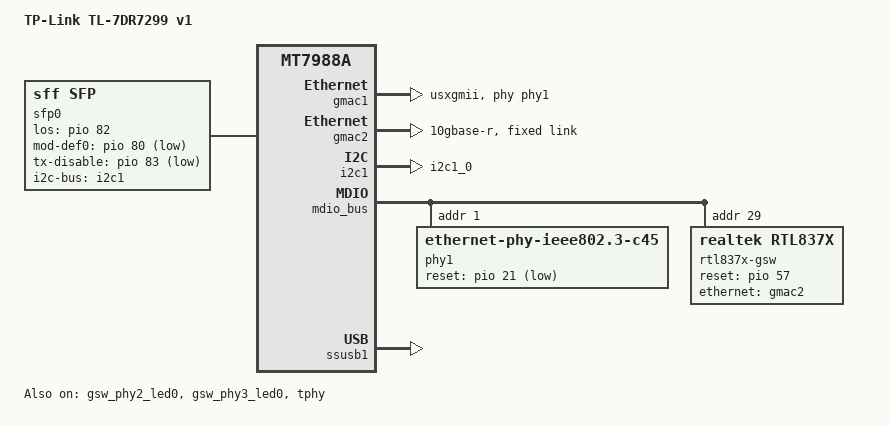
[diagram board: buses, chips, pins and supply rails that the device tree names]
// SPDX-License-Identifier: GPL-2.0-or-later OR MIT
/*
 * Copyright (C) 2026 Tianling Shen <cnsztl@immortalwrt.org>
 */

/dts-v1/;
#include "mt7988d-tplink-tl-7dr-common.dtsi"

/ {
	model = "TP-Link TL-7DR7299 v1";
	compatible = "tplink,tl-7dr7299-v1", "mediatek,mt7988a";

	cpus {
		cpu3: cpu@3 {
			compatible = "arm,cortex-a73";
			reg = <0x3>;
			device_type = "cpu";
			enable-method = "psci";
			clocks = <&mcusys CLK_MCU_ARM_DIV_SEL>, <&topckgen CLK_TOP_XTAL>;
			clock-names = "cpu", "intermediate";
			operating-points-v2 = <&cluster0_opp>;
			mediatek,cci = <&cci>;
		};
	};

	gpio-leds {
		led-2 {
			color = <LED_COLOR_ID_GREEN>;
			function = "sfp";
			gpios = <&pio 81 GPIO_ACTIVE_LOW>;
		};
	};

	sfp0: sfp0 {
		compatible = "sff,sfp";
		i2c-bus = <&i2c1>;
		los-gpios = <&pio 82 GPIO_ACTIVE_HIGH>;
		mod-def0-gpios = <&pio 80 GPIO_ACTIVE_LOW>;
		tx-disable-gpios = <&pio 83 GPIO_ACTIVE_LOW>;
		maximum-power-milliwatt = <3000>;
	};
};

&cpu3 {
	proc-supply = <&rt5190_buck3>;
};

&gmac1 {
	nvmem-cells = <&macaddr_factory_1e001c 1>;
	nvmem-cell-names = "mac-address";
	phy-handle = <&phy1>;
	phy-mode = "usxgmii";

	/delete-property/ phy-connection-type;
	/delete-property/ phy;

	status = "okay";
};

&gmac2 {
	nvmem-cells = <&macaddr_factory_1e001c 0>;
	nvmem-cell-names = "mac-address";
	phy-mode = "10gbase-r";
	status = "okay";

	fixed-link {
		speed = <10000>;
		full-duplex;
		pause;
	};
};

&gsw_phy2 {
	pinctrl-names = "gbe-led";
	pinctrl-0 = <&gbe2_led0_pins>;
};

&gsw_phy2_led0 {
	function = LED_FUNCTION_LAN;
	color = <LED_COLOR_ID_GREEN>;
	status = "okay";
};

&gsw_phy3 {
	pinctrl-names = "gbe-led";
	pinctrl-0 = <&gbe3_led0_pins>;
};

&gsw_phy3_led0 {
	function = LED_FUNCTION_LAN;
	color = <LED_COLOR_ID_GREEN>;
	status = "okay";
};

&gsw_port0 {
	status = "disabled";
};

&gsw_port1 {
	status = "disabled";
};

&gsw_port2 {
	label = "lan1";
};

&gsw_port3 {
	label = "lan2";
};

&i2c1 {
	pinctrl-names = "default";
	pinctrl-0 = <&i2c1_pins>;
	status = "okay";
};

&mdio_bus {
	phy1: ethernet-phy@1 {
		compatible = "ethernet-phy-ieee802.3-c45";
		reg = <1>;
		reset-assert-us = <100000>;
		reset-deassert-us = <221000>;
		reset-gpios = <&pio 21 GPIO_ACTIVE_LOW>;

		leds {
			#address-cells = <1>;
			#size-cells = <0>;

			led@3 {
				reg = <3>;
				function = LED_FUNCTION_WAN;
				color = <LED_COLOR_ID_GREEN>;
				active-low;
			};
		};
	};

	rtl837x-gsw@1d {
		compatible = "realtek,rtl837x";
		reg = <29>;
		ethernet = <&gmac2>;
		reset-gpios = <&pio 57 GPIO_ACTIVE_HIGH>;
		rtl837x,cpu-port = <0>;
		rtl837x,sds0mode = "10g-kr";
		sfp = <&sfp0>;

		extra-init =
			/* LED_RLDP_CTRL_3~8_P2_LED3_0_RLDP */
			<0x65FC 0xffffffff 0x33333000>, // RTL8373_LED_RLDP_CTRL_2_ADDR
			<0x6600 0xf        0x3       >, // RTL8373_LED_RLDP_CTRL_3_ADDR
			/* 10m/100m/500m/1g/2p5g/link/act */
			<0x6548 0xffff     0x17D     >, // RTL8373_LED1_0_SET0_CTRL0_ADDR
			/* LED_GLB_MUX_1_CFG_PAD_LED3_MUX */
			<0x65E0 0xfc0000   0x10      >, // RTL8373_LED_GLB_MUX_1_ADDR
			/* LED_GLB_MUX_2_CFG_PAD_LED6_MUX */
			<0x65E4 0xfc0      0x14      >, // RTL8373_LED_GLB_MUX_2_ADDR
			/* LED_GLB_MUX_3_CFG_PAD_LED10_MUX */
			<0x65E8 0x3f       0x18      >, // RTL8373_LED_GLB_MUX_3_ADDR
			/* LED_GLB_MUX_4_CFG_PAD_LED18_MUX */
			<0x65EC 0xfc0000   0x1C      >, // RTL8373_LED_GLB_MUX_4_ADDR
			/* LED_GLB_ACTIVE_CFG_PAD_LED3_ACTIVE_LOW */
			<0x65D8 0x8        0         >, // RTL8373_LED_GLB_ACTIVE_ADDR
			/* LED_GLB_ACTIVE_CFG_PAD_LED6_ACTIVE_LOW */
			<0x65D8 0x6        0         >, // RTL8373_LED_GLB_ACTIVE_ADDR
			/* LED_GLB_ACTIVE_CFG_PAD_LED10_ACTIVE_LOW */
			<0x65D8 0xA        0         >, // RTL8373_LED_GLB_ACTIVE_ADDR
			/* LED_GLB_ACTIVE_CFG_PAD_LED18_ACTIVE_LOW */
			<0x65D8 0x12       0         >, // RTL8373_LED_GLB_ACTIVE_ADDR
			/* LED_GLB_IO_EN_CFG_PARA_LED3/6/10/18/28/29_IO_EN */
			<0x65DC 0x3fffffff 0x30040448>, // RTL8373_LED_GLB_IO_EN_ADDR
			/* IO_MUX_SEL_0_GPIO_LED3/6/10/18 */
			<0x7F8C 0x3fffffff 0x3FFBFBB7>, // RTL8373_IO_MUX_SEL_0_ADDR
			/* LED_GLB_CTRL_STP1_PWR_ON_LED */
			<0x6520 0x1E0      1         >, // RTL8373_LED_GLB_CTRL_ADDR
			/* LED_GLB_CTRL_STP2_PWR_ON_LED */
			<0x6520 0x1E00     0         >, // RTL8373_LED_GLB_CTRL_ADDR
			/* LED_GLB_CTRL_PWR_ON_BLINK_SEL */
			<0x6520 0x18       1         >; // RTL8373_LED_GLB_CTRL_ADDR
	};
};

&pio {
	gbe2_led0_pins: gbe2-led0-pins {
		mux {
			function = "led";
			groups = "gbe2_led0";
		};
	};

	gbe3_led0_pins: gbe3-led0-pins {
		mux {
			function = "led";
			groups = "gbe3_led0";
		};
	};

	i2c1_pins: i2c1-g0-pins {
		mux {
			function = "i2c";
			groups = "i2c1_0";
		};
	};
};

&ssusb1 {
	status = "okay";
};

&tphy {
	status = "okay";
};
